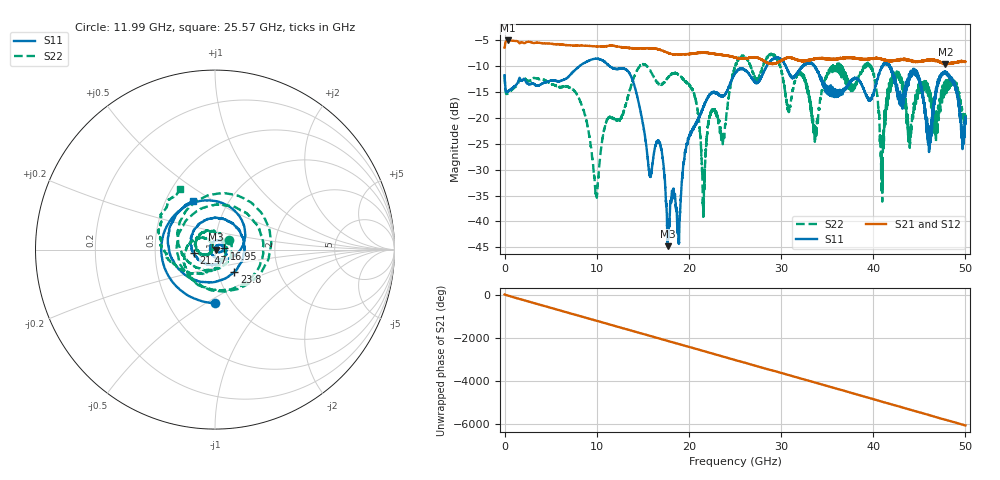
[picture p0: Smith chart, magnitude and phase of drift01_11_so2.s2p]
!Created with skrf (http://scikit-rf.org).
# Hz S RI R 50.0
!freq ReS11 ImS11 ReS21 ImS21 ReS12 ImS12 ReS22 ImS22
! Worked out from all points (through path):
!   10001 points, 300 kHz to 50 GHz, reference 50 ohm
!   highest |S21| = -5.05 dB at 325.3 MHz (marker M1); lowest = -9.7 dB at 47.84 GHz (marker M2)
!   group delay of S21, straight-line fit = 336 ps
!   lowest |S11| = -44.8 dB at 17.7 GHz (marker M3), VSWR 1.01, Z = 50.6 - j0.116 ohm
!   |S11| at or under -10 dB: start of sweep to 8.136 GHz; 11.4 GHz to 28.43 GHz (17.04 GHz wide, 85.6 % of centre); 41.79 GHz to end of sweep (the widest 3 of 11)
!   |S22| runs from -39.1 to -7.6 dB; largest |S21 - S12| = 0.011
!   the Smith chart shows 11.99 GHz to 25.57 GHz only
!   S11 on the Smith chart (normalised r, x): 11.99 GHz: 0.84, -0.55; 16.95 GHz: 1.11, +0.01; 21.47 GHz: 0.79, -0.03; 23.8 GHz: 1.20, -0.31; 25.57 GHz: 0.69, +0.41
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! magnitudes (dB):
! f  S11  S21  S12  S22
! 300 kHz  -11.8  -6.5  -6.5  -11.8
! 325.3 MHz  -15.0  -5.1  -5.1  -15.4
! 8.335 GHz  -9.7  -6.0  -6.0  -17.5
! 9.935 GHz  -8.6  -6.2  -6.2  -34.8
! 11.99 GHz  -10.5  -6.2  -6.1  -20.4
! 15.77 GHz  -31.1  -6.5  -6.6  -10.8
! 16.67 GHz  -24.4  -6.8  -6.8  -13.4
! 16.95 GHz  -25.6  -6.9  -6.9  -13.5
! 17.7 GHz  -44.8  -7.4  -7.4  -12.3
! 20.5 GHz  -21.9  -7.6  -7.6  -15.0
! 21.47 GHz  -18.4  -7.4  -7.4  -32.2
! 22.46 GHz  -15.2  -7.6  -7.6  -18.9
! 23.8 GHz  -15.7  -7.9  -7.9  -23.5
! 25 GHz  -11.4  -8.3  -8.4  -10.3
! 25.57 GHz  -10.5  -8.5  -8.5  -8.2
! 33.34 GHz  -9.5  -8.7  -8.7  -20.0
! 39.49 GHz  -16.6  -8.6  -8.6  -9.9
! 40.95 GHz  -10.1  -8.7  -8.6  -28.2
! 41.67 GHz  -9.9  -8.8  -9.0  -15.3
! 46.06 GHz  -25.3  -8.8  -8.7  -14.8
! 47.84 GHz  -11.3  -9.7  -9.6  -14.1
! 50 GHz  -21.0  -9.2  -9.2  -20.0
